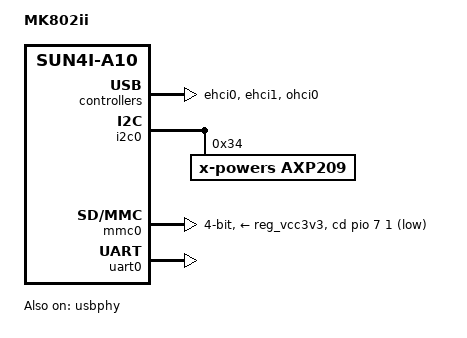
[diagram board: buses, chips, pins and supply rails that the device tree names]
FASTVC-BENCH-CORPUS:linux-main-100k-v1-e0bd41dc-8e12-4f1b-978d-a3645ae59da0
/*
 * Copyright 2015 Hans de Goede <hdegoede@redhat.com>
 *
 * This file is dual-licensed: you can use it either under the terms
 * of the GPL or the X11 license, at your option. Note that this dual
 * licensing only applies to this file, and not this project as a
 * whole.
 *
/* bench 10838.2.0 25e3adbe5b61 */
/* bench 10838.2.1 ae6b25c9b30c */
/* bench 10838.2.2 567bf1d7ea8e */
/* bench 10838.2.3 1fe7df34b991 */
/* bench 10838.2.4 0856eb8c9ee5 */
/* bench 10838.2.5 31815913a4bc */
/* bench 10838.2.6 f04f0af8ae8b */
/* bench 10838.2.7 5eada7d53869 */
/* bench 10838.2.8 df92749c23a3 */
 *  a) This file is free software; you can redistribute it and/or
 *     modify it under the terms of the GNU General Public License as
 *     published by the Free Software Foundation; either version 2 of the
 *     License, or (at your option) any later version.
 *
 *     This file is distributed in the hope that it will be useful,
 *     but WITHOUT ANY WARRANTY; without even the implied warranty of
 *     MERCHANTABILITY or FITNESS FOR A PARTICULAR PURPOSE.  See the
 *     GNU General Public License for more details.
 *
 * Or, alternatively,
 *
 *  b) Permission is hereby granted, free of charge, to any person
 *     obtaining a copy of this software and associated documentation
 *     files (the "Software"), to deal in the Software without
 *     restriction, including without limitation the rights to use,
 *     copy, modify, merge, publish, distribute, sublicense, and/or
 *     sell copies of the Software, and to permit persons to whom the
 *     Software is furnished to do so, subject to the following
 *     conditions:
 *
 *     The above copyright notice and this permission notice shall be
 *     included in all copies or substantial portions of the Software.
 *
 *     THE SOFTWARE IS PROVIDED "AS IS", WITHOUT WARRANTY OF ANY KIND,
 *     EXPRESS OR IMPLIED, INCLUDING BUT NOT LIMITED TO THE WARRANTIES
 *     OF MERCHANTABILITY, FITNESS FOR A PARTICULAR PURPOSE AND
 *     NONINFRINGEMENT. IN NO EVENT SHALL THE AUTHORS OR COPYRIGHT
 *     HOLDERS BE LIABLE FOR ANY CLAIM, DAMAGES OR OTHER LIABILITY,
 *     WHETHER IN AN ACTION OF CONTRACT, TORT OR OTHERWISE, ARISING
 *     FROM, OUT OF OR IN CONNECTION WITH THE SOFTWARE OR THE USE OR
 *     OTHER DEALINGS IN THE SOFTWARE.
 */

/dts-v1/;
#include "sun4i-a10.dtsi"
#include "sunxi-common-regulators.dtsi"
#include <dt-bindings/gpio/gpio.h>

/ {
	model = "MK802ii";
	compatible = "allwinner,mk802ii", "allwinner,sun4i-a10";

	aliases {
		serial0 = &uart0;
	};

	chosen {
		stdout-path = "serial0:115200n8";
	};
};

&ehci0 {
	status = "okay";
};

&ehci1 {
	status = "okay";
};

&i2c0 {
	status = "okay";

	axp209: pmic@34 {
		compatible = "x-powers,axp209";
		reg = <0x34>;
		interrupts = <0>;

		interrupt-controller;
		#interrupt-cells = <1>;
	};
};

&mmc0 {
	vmmc-supply = <&reg_vcc3v3>;
	bus-width = <4>;
	cd-gpios = <&pio 7 1 GPIO_ACTIVE_LOW>; /* PH1 */
	status = "okay";
};

&ohci0 {
	status = "okay";
};

&reg_usb1_vbus {
	status = "okay";
};

&reg_usb2_vbus {
	status = "okay";
};

&uart0 {
	pinctrl-names = "default";
	pinctrl-0 = <&uart0_pb_pins>;
	status = "okay";
};

&usbphy {
	usb1_vbus-supply = <&reg_usb1_vbus>;
	usb2_vbus-supply = <&reg_usb2_vbus>;
	status = "okay";
};
